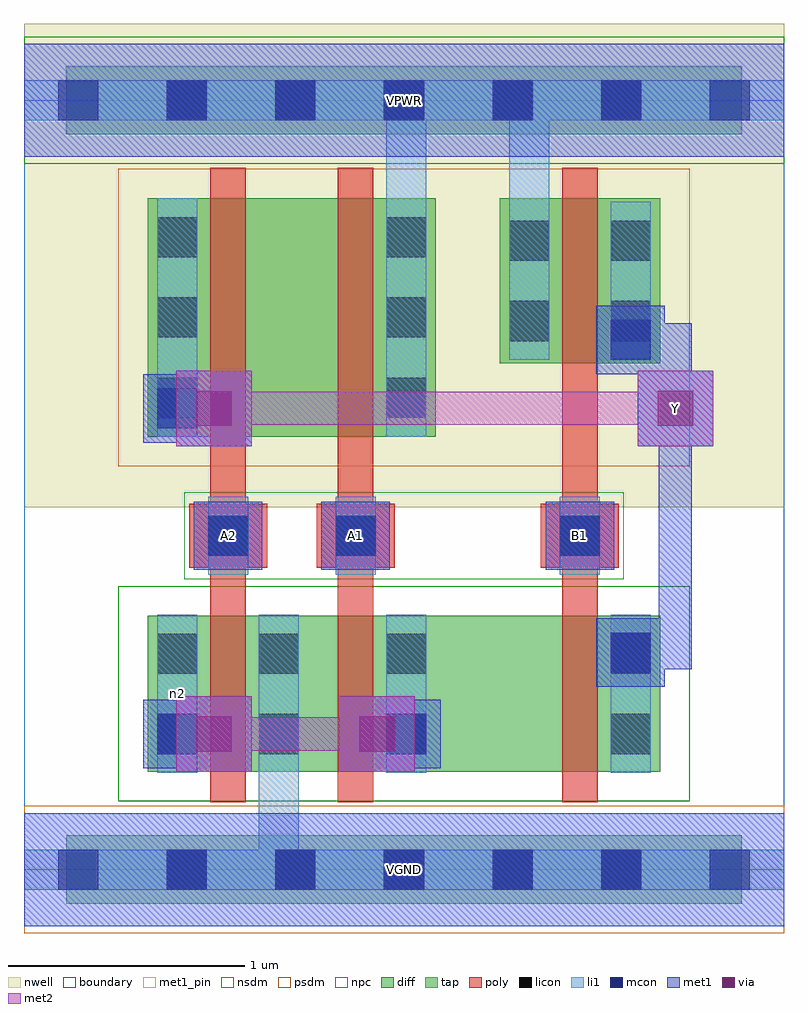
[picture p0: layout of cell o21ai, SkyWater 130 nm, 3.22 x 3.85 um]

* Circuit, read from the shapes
.subckt o21ai A1 A2 B1 VGND VPWR Y n2
XM1 VGND A2 n2 VGND sky130_fd_pr__nfet_01v8 w=0.66 l=0.15
XM2 n2 A1 VGND VGND sky130_fd_pr__nfet_01v8 w=0.66 l=0.15
XM3 Y B1 n2 VGND sky130_fd_pr__nfet_01v8 w=0.66 l=0.15
XM4 n1 A2 Y VPWR sky130_fd_pr__pfet_01v8 w=1.01 l=0.15
XM5 VPWR A1 n1 VPWR sky130_fd_pr__pfet_01v8 w=1.01 l=0.15
XM6 Y B1 VPWR VPWR sky130_fd_pr__pfet_01v8 w=0.7 l=0.15
.ends

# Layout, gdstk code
import gdstk
lib = gdstk.Library(unit=1e-6, precision=1e-09)
def R(c, l, rs):  # rectangles x0, y0, x1, y1
    for r in rs: c.add(gdstk.rectangle(r[:2], r[2:], *l))
def A(c, l, x, y, w, h, nx, ny, dx, dy):  # array of equal rectangles
    R(c, l, [(x+i*dx, y+j*dy, x+i*dx+w, y+j*dy+h) for i in range(nx) for j in range(ny)])
nwell = (64, 20)
diff = (65, 20)
tap = (65, 44)
poly = (66, 20)
licon = (66, 44)
li1 = (67, 20)
mcon = (67, 44)
met1_pin = (68, 16)
met1 = (68, 20)
via = (68, 44)
met2 = (69, 20)
nsdm = (93, 44)
psdm = (94, 20)
npc = (95, 20)
boundary = (235, 4)

o21ai = lib.new_cell('o21ai')
R(o21ai, nwell, [(0,1.535,3.22,3.585)])
R(o21ai, diff, [(0.525,0.415,2.695,1.075), (0.525,1.835,1.745,2.845), (2.015,2.145,2.695,2.845)])
R(o21ai, tap, [(0.18,-0.145,3.04,0.145), (0.18,3.115,3.04,3.405)])
R(o21ai, poly, [(0.79,0.285,0.94,2.975), (1.33,0.285,1.48,2.975), (2.28,0.285,2.43,2.975), (0.7,1.28,1.03,1.55), (1.24,1.28,1.57,1.55), (2.19,1.28,2.52,1.55)])
A(o21ai, licon, 0.605, -0.085, 0.17, 0.17, 5, 2, 0.46, 3.26)
A(o21ai, licon, 0.565, 1.915, 0.17, 0.17, 1, 3, 0, 0.34)
A(o21ai, licon, 1.535, 1.915, 0.17, 0.17, 1, 3, 0, 0.34)
R(o21ai, licon, [(0.565,0.49,0.735,0.66), (0.995,0.49,1.165,0.66), (1.535,0.49,1.705,0.66), (2.485,0.49,2.655,0.66), (0.565,0.83,0.735,1), (0.995,0.83,1.165,1), (1.535,0.83,1.705,1), (2.485,0.83,2.655,1), (0.78,1.33,0.95,1.5), (1.32,1.33,1.49,1.5), (2.27,1.33,2.44,1.5), (2.055,2.24,2.225,2.41), (2.485,2.24,2.655,2.41), (2.055,2.58,2.225,2.75), (2.485,2.58,2.655,2.75)])
R(o21ai, li1, [(0,-0.085,3.22,0.085), (0.995,-0.085,1.165,1.08), (0.565,0.41,0.735,1.08), (0.995,0.41,1.165,1.08), (1.535,0.41,1.705,1.08), (2.485,0.41,2.655,1.08), (0.78,1.25,0.95,1.58), (1.32,1.25,1.49,1.58), (2.27,1.25,2.44,1.58), (0.565,1.835,0.735,2.845), (1.535,1.835,1.705,2.845), (1.535,1.835,1.705,3.345), (2.055,2.16,2.225,2.83), (2.055,2.16,2.225,3.345), (2.485,2.16,2.655,2.83), (0,3.175,3.22,3.345)])
A(o21ai, mcon, 0.145, -0.085, 0.17, 0.17, 7, 2, 0.46, 3.26)
R(o21ai, mcon, [(0.565,0.49,0.735,0.66), (1.535,0.49,1.705,0.66), (2.485,0.835,2.655,1.005), (0.78,1.33,0.95,1.5), (1.32,1.33,1.49,1.5), (2.27,1.33,2.44,1.5), (0.565,1.87,0.735,2.04), (2.485,2.16,2.655,2.33)])
R(o21ai, met1_pin, [(0,-0.24,3.22,0.24), (0.72,1.27,1.01,1.56), (1.26,1.27,1.55,1.56), (2.21,1.27,2.5,1.56), (2.6,1.795,2.92,2.115), (0,3.02,3.22,3.5)])
R(o21ai, met1, [(0,-0.24,3.22,0.24), (0.645,0.415,0.965,0.735), (1.335,0.415,1.655,0.735), (0.505,0.43,0.795,0.72), (1.475,0.43,1.765,0.72), (0.58,0.505,0.875,0.645), (1.425,0.505,1.69,0.645), (2.425,0.775,2.715,1.065), (2.5,0.85,2.83,0.99), (2.69,0.85,2.83,2.14), (0.72,1.27,1.01,1.56), (1.26,1.27,1.55,1.56), (2.21,1.27,2.5,1.56), (0.645,1.795,0.965,2.115), (2.6,1.795,2.92,2.115), (0.505,1.81,0.795,2.1), (0.58,1.885,0.875,2.025), (2.69,2,2.83,2.315), (2.425,2.1,2.715,2.39), (2.6,2.115,2.83,2.175), (2.5,2.175,2.83,2.315), (0,3.02,3.22,3.5)])
R(o21ai, via, [(0.73,0.5,0.88,0.65), (1.42,0.5,1.57,0.65), (0.73,1.88,0.88,2.03), (2.685,1.88,2.835,2.03)])
R(o21ai, met2, [(0.645,0.415,0.965,0.735), (1.335,0.415,1.655,0.735), (0.735,0.505,1.565,0.645), (0.645,1.795,0.965,2.115), (2.6,1.795,2.92,2.115), (0.735,1.885,2.83,2.025)])
R(o21ai, nsdm, [(0.4,0.29,2.82,1.2), (0,2.99,3.22,3.53)])
R(o21ai, psdm, [(0,-0.27,3.22,0.27), (0.4,1.71,2.82,2.97)])
R(o21ai, npc, [(0.68,1.23,2.54,1.6)])
R(o21ai, boundary, [(0,0,3.22,3.26)])
o21ai.add(gdstk.Label('n2', (0.65,0.745), layer=67, texttype=5))
o21ai.add(gdstk.Label('A1', (1.405,1.415), layer=68, texttype=5))
o21ai.add(gdstk.Label('A2', (0.865,1.415), layer=68, texttype=5))
o21ai.add(gdstk.Label('B1', (2.355,1.415), layer=68, texttype=5))
o21ai.add(gdstk.Label('Y', (2.76,1.955), layer=68, texttype=5))
o21ai.add(gdstk.Label('VPWR', (1.61,3.26), layer=68, texttype=5))
o21ai.add(gdstk.Label('VGND', (1.61,0), layer=68, texttype=5))
o21ai.add(gdstk.Label('A1', (1.405,1.415), layer=68, texttype=16))
o21ai.add(gdstk.Label('A2', (0.865,1.415), layer=68, texttype=16))
o21ai.add(gdstk.Label('B1', (2.355,1.415), layer=68, texttype=16))
o21ai.add(gdstk.Label('Y', (2.76,1.955), layer=68, texttype=16))
o21ai.add(gdstk.Label('VPWR', (1.61,3.26), layer=68, texttype=16))
o21ai.add(gdstk.Label('VGND', (1.61,0), layer=68, texttype=16))

lib.write_gds('o21ai.gds')
